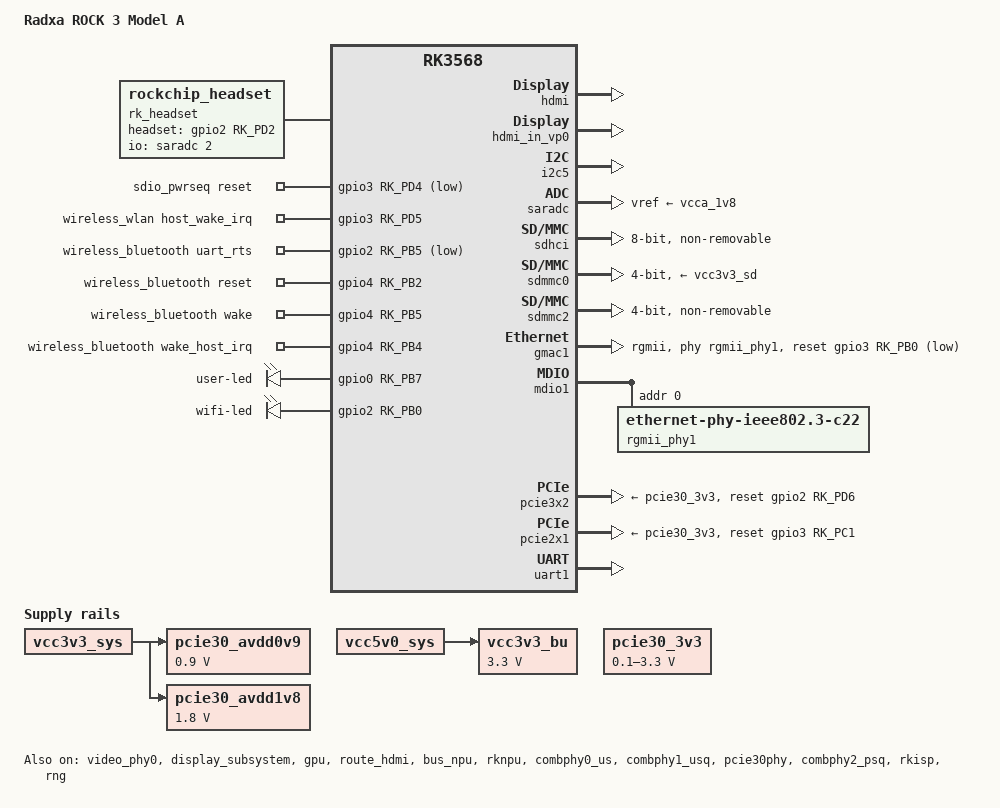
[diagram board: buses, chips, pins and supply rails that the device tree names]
/dts-v1/;
#include <dt-bindings/gpio/gpio.h>
#include <dt-bindings/pwm/pwm.h>
#include <dt-bindings/pinctrl/rockchip.h>
#include <dt-bindings/input/rk-input.h>
#include <dt-bindings/display/drm_mipi_dsi.h>
#include <dt-bindings/sensor-dev.h>
#include "rk3568.dtsi"
#include "rk3568-evb.dtsi"

/ {
	model = "Radxa ROCK 3 Model A";
	compatible = "radxa,rock-3-a", "rockchip,rk3568";

	hdmi_sound: hdmi-sound {
		compatible = "simple-audio-card";
		simple-audio-card,format = "i2s";
		simple-audio-card,mclk-fs = <128>;
		simple-audio-card,name = "rockchip,hdmi";
		status = "okay";

		simple-audio-card,cpu {
				sound-dai = <&i2s0_8ch>;
		};
		simple-audio-card,codec {
				sound-dai = <&hdmi>;
		};
	};

	pdmics: dummy-codec {
		status = "disabled";
		compatible = "rockchip,dummy-codec";
		#sound-dai-cells = <0>;
	};

	pdm_mic_array: pdm-mic-array {
		status = "disabled";
		compatible = "simple-audio-card";
		simple-audio-card,name = "rockchip,pdm-mic-array";
		simple-audio-card,cpu {
			sound-dai = <&pdm>;
		};
		simple-audio-card,codec {
			sound-dai = <&pdmics>;
		};
	};
/*
	reserved-memory {
		#address-cells = <2>;
		#size-cells = <2>;
		ranges;

		rknpu_reserved: rknpu {
			compatible = "shared-dma-pool";
			inactive;
			reusable;
			size = <0x0 0x20000000>;
			alignment = <0x0 0x1000>;
		};
	};
*/
	rk809_sound: rk809-sound {
		status = "okay";
		compatible = "simple-audio-card";
		simple-audio-card,format = "i2s";
		simple-audio-card,name = "rockchip,rk809-codec";
		simple-audio-card,mclk-fs = <256>;

		simple-audio-card,cpu {
			sound-dai = <&i2s1_8ch>;
		};
		simple-audio-card,codec {
			sound-dai = <&rk809_codec>;
		};
	};

	rk_headset: rk-headset {
		compatible = "rockchip_headset";
		headset_gpio = <&gpio2 RK_PD2 GPIO_ACTIVE_HIGH>;
		pinctrl-names = "default";
		pinctrl-0 = <&hp_det>;
		io-channels = <&saradc 2>;    //HP_HOOK引脚
	};

	pcie30_avdd0v9: pcie30-avdd0v9 {
		compatible = "regulator-fixed";
		regulator-name = "pcie30_avdd0v9";
		regulator-always-on;
		regulator-boot-on;
		regulator-min-microvolt = <900000>;
		regulator-max-microvolt = <900000>;
		vin-supply = <&vcc3v3_sys>;
	};

	pcie30_avdd1v8: pcie30-avdd1v8 {
		compatible = "regulator-fixed";
		regulator-name = "pcie30_avdd1v8";
		regulator-always-on;
		regulator-boot-on;
		regulator-min-microvolt = <1800000>;
		regulator-max-microvolt = <1800000>;
		vin-supply = <&vcc3v3_sys>;
	};

	pcie30_3v3: gpio-regulator {
		compatible = "regulator-gpio";
		regulator-name = "pcie30_3v3";
		regulator-min-microvolt = <100000>;
		regulator-max-microvolt = <3300000>;
		gpios = <&gpio0 RK_PD4 GPIO_ACTIVE_HIGH>;
		gpios-states = <0x1>;
		states = <100000 0x0
			  3300000 0x1>;
	};

	vcc3v3_bu: vcc3v3-bu {
		compatible = "regulator-fixed";
		regulator-name = "vcc3v3_bu";
		regulator-always-on;
		regulator-boot-on;
		regulator-min-microvolt = <3300000>;
		regulator-max-microvolt = <3300000>;
		vin-supply = <&vcc5v0_sys>;
	};

	sdio_pwrseq: sdio-pwrseq {
		compatible = "mmc-pwrseq-simple";
		clocks = <&rk809 1>;
		clock-names = "ext_clock";
		pinctrl-names = "default";
		pinctrl-0 = <&wifi_enable_h>;

		/*
		 * On the module itself this is one of these (depending
		 * on the actual card populated):
		 * - SDIO_RESET_L_WL_REG_ON
		 * - PDN (power down when low)
		 */
		reset-gpios = <&gpio3 RK_PD4 GPIO_ACTIVE_LOW>;		//WIFI_REG_ON_H
	};

	wireless_wlan: wireless-wlan {
		compatible = "wlan-platdata";
		clocks = <&rk809 1>;
		clock-names = "clk_wifi";
		rockchip,grf = <&grf>;
		wifi_chip_type = "ap6256";
		pinctrl-names = "default";
		pinctrl-0 = <&wifi_host_wake_irq>;
		WIFI,host_wake_irq = <&gpio3 RK_PD5 GPIO_ACTIVE_HIGH>;		//WIFI_WAKE_HOST_H
		status = "okay";
	};

	wireless_bluetooth: wireless-bluetooth {
		compatible = "bluetooth-platdata";
		clocks = <&rk809 1>;
		clock-names = "ext_clock";
		//wifi-bt-power-toggle;
		uart_rts_gpios = <&gpio2 RK_PB5 GPIO_ACTIVE_LOW>;
		pinctrl-names = "default", "rts_gpio";
		pinctrl-0 = <&uart1m0_rtsn>;
		pinctrl-1 = <&uart1_gpios>;
		BT,reset_gpio    = <&gpio4 RK_PB2 GPIO_ACTIVE_HIGH>;	//BT_REG_ON_H
		BT,wake_gpio     = <&gpio4 RK_PB5 GPIO_ACTIVE_HIGH>;	//HOST_WAKE_BT_H
		BT,wake_host_irq = <&gpio4 RK_PB4 GPIO_ACTIVE_HIGH>;	//BT_WAKE_HOST_H
		status = "okay";
	};

	gpio_leds: gpio-leds {
		compatible = "gpio-leds";
		status = "okay";

		user-led {
			gpios = <&gpio0 RK_PB7 GPIO_ACTIVE_HIGH>;
			linux,default-trigger = "heartbeat";
			default-state = "on";
			pinctrl-0 = <&user_led>;
		};

		wifi-led {
			gpios = <&gpio2 RK_PB0 GPIO_ACTIVE_HIGH>;
			linux,default-trigger = "rfkill2";
			default-state = "on";
			pinctrl-0 = <&wifi_led>;
		};
	};
};

&video_phy0 {
	status = "okay";
};

&display_subsystem {
    status = "okay";
};

&gpu {
	mali-supply = <&vdd_gpu>;
	status = "okay";
};

// enable hdmi, connect to vp0
&hdmi {
	status = "okay";
};

&hdmi_in_vp0 {
	status = "okay";
};

&hdmi_in_vp1 {
	status = "disabled";
};

&hdmi_sound {
	status = "okay";
};

&route_hdmi {
	status = "okay";
	connect = <&vp0_out_hdmi>;
};

// disable edp
&edp {
       status = "disabled";
};

&edp_phy {
       status = "disabled";
};

&edp_in_vp0 {
       status = "disabled";
};

&edp_in_vp1 {
       status = "disabled";
};

// disable dsi0
&dsi0 {
        status = "disabled";
};

&dsi0_in_vp0 {
        status = "disabled";
};

&dsi0_in_vp1 {
        status = "disabled";
};

// disable dsi1
&dsi1 {
        status = "disabled";
};

&dsi1_in_vp0 {
        status = "disabled";
};

&dsi1_in_vp1 {
        status = "disabled";
};

&i2c4 {
	pinctrl-0 = <&i2c4m1_xfer>;
        status = "disabled";
};

&i2c5 {
	status = "okay";	
	pinctrl-0 = <&i2c5m0_xfer>;
};
&pmu_io_domains {
	status = "okay";
	pmuio1-supply = <&vcc3v3_pmu>;
	pmuio2-supply = <&vcc3v3_pmu>;
	vccio1-supply = <&vccio_acodec>;
	vccio3-supply = <&vccio_sd>;
	vccio4-supply = <&vcc_1v8>;
	vccio5-supply = <&vcc_3v3>;
	vccio6-supply = <&vcc_1v8>;
	vccio7-supply = <&vcc_3v3>;
};

&bus_npu {
	bus-supply = <&vdd_logic>;
	pvtm-supply = <&vdd_cpu>;
	status = "okay";
};

&rknpu {
	// memory-region = <&rknpu_reserved>;
	rknpu-supply = <&vdd_npu>;
	status = "okay";
};

&rknpu_mmu {
	status = "okay";
};

&saradc {
	status = "okay";
	vref-supply = <&vcca_1v8>;
};

&sdhci {
	bus-width = <8>;
	supports-emmc;
	non-removable;
	rockchip,txclk-tapnum = <0x8>;
	max-frequency = <200000000>;
	status = "okay";
};

&sdmmc0 {
	max-frequency = <150000000>;
	supports-sd;
	bus-width = <4>;
	cap-mmc-highspeed;
	cap-sd-highspeed;
	disable-wp;
	sd-uhs-sdr104;
	vmmc-supply = <&vcc3v3_sd>;
	vqmmc-supply = <&vccio_sd>;
	pinctrl-names = "default";
	pinctrl-0 = <&sdmmc0_bus4 &sdmmc0_clk &sdmmc0_cmd &sdmmc0_det>;
	status = "okay";
};

&sdmmc2 {
	max-frequency = <150000000>;
	supports-sdio;
	bus-width = <4>;
	disable-wp;
	cap-sd-highspeed;
	cap-sdio-irq;
	keep-power-in-suspend;
	mmc-pwrseq = <&sdio_pwrseq>;
	non-removable;
	pinctrl-names = "default";
	pinctrl-0 = <&sdmmc2m0_bus4 &sdmmc2m0_cmd &sdmmc2m0_clk>;
	sd-uhs-sdr104;
	status = "okay";
};

&combphy0_us {
	status = "okay";
};

&combphy1_usq {
	status = "okay";
};

&sata0 {
	status = "disabled";
};

&sata1 {
	status = "disabled";
};

&xpcs {
	status="disabled";
};

&gmac1 {
	phy-mode = "rgmii";
	clock_in_out = "output";

	snps,reset-gpio = <&gpio3 RK_PB0 GPIO_ACTIVE_LOW>;
	snps,reset-active-low;
	/* Reset time is 20ms, 100ms for rtl8211f */
	snps,reset-delays-us = <0 20000 100000>;

	assigned-clocks = <&cru SCLK_GMAC1_RX_TX>, <&cru SCLK_GMAC1>;
	assigned-clock-parents = <&cru SCLK_GMAC1_RGMII_SPEED>;
	assigned-clock-rates = <0>, <125000000>;

	pinctrl-names = "default";
	pinctrl-0 = <&gmac1m1_miim
		     &gmac1m1_tx_bus2
		     &gmac1m1_rx_bus2
		     &gmac1m1_rgmii_clk
		     &gmac1m1_rgmii_bus>;

	tx_delay = <0x42>;
	rx_delay = <0x28>;

	phy-handle = <&rgmii_phy1>;
	status = "okay";
};

&mdio1 {
	rgmii_phy1: phy@0 {
		compatible = "ethernet-phy-ieee802.3-c22";
		reg = <0x0>;
	};
};

&pcie30phy {
	status = "okay";
};

&pcie3x2 {
	reset-gpios = <&gpio2 RK_PD6 GPIO_ACTIVE_HIGH>;
	vpcie3v3-supply = <&pcie30_3v3>;
	//num-lanes = <2>;
	pinctrl-0 = <&pcie30x2m1_pins>; 
	status = "okay";
};

&combphy2_psq {
	status = "okay";
};

&pcie2x1 {
	reset-gpios = <&gpio3 RK_PC1 GPIO_ACTIVE_HIGH>;	
	vpcie3v3-supply = <&pcie30_3v3>;
	pinctrl-0 = <&pcie20m1_pins>; 
	status = "okay";
};

&rkisp {
	status = "okay";
};

&rkisp_mmu {
	status = "okay";
};

&uart1 {
	status = "okay";
	pinctrl-names = "default";
	pinctrl-0 = <&uart1m0_xfer &uart1m0_ctsn>;
};

&uart8 {
	status = "disabled";
};

&reserved_memory {
	ramoops: ramoops@110000 {
		compatible = "ramoops";
		reg = <0x0 0x110000 0x0 0xf0000>;
		record-size = <0x20000>;
		console-size = <0x80000>;
		ftrace-size = <0x00000>;
		pmsg-size = <0x50000>;
	};
};

// wired network
// disable gmac0
&gmac0 {
	status = "disabled";
};

&rng {
	status = "okay";
};

&pinctrl {
	pmic {
		pmic_int: pmic_int {
			rockchip,pins =
				<0 RK_PA3 RK_FUNC_GPIO &pcfg_pull_up>;
		};

		soc_slppin_gpio: soc_slppin_gpio {
			rockchip,pins =
				<0 RK_PA2 RK_FUNC_GPIO &pcfg_output_low>;
		};

		soc_slppin_slp: soc_slppin_slp {
			rockchip,pins =
				<0 RK_PA2 RK_FUNC_1 &pcfg_pull_none>;
		};

		soc_slppin_rst: soc_slppin_rst {
			rockchip,pins =
				<0 RK_PA2 RK_FUNC_2 &pcfg_pull_none>;
		};
	};

	usb {
		vcc5v0_host_en: vcc5v0-host-en {
			rockchip,pins = <0 RK_PA6 RK_FUNC_GPIO &pcfg_pull_none>;
		};

		vcc5v0_otg_en: vcc5v0-otg-en {
			rockchip,pins = <0 RK_PA5 RK_FUNC_GPIO &pcfg_pull_none>;
		};

		vcc5v0_hub_en: vcc5v0-hub-en {
			rockchip,pins = <0 RK_PD5 RK_FUNC_GPIO &pcfg_pull_none>;
		};
	};

	sdio-pwrseq {
		wifi_enable_h: wifi-enable-h {
			rockchip,pins = <3 RK_PD4 RK_FUNC_GPIO &pcfg_pull_none>;
		};
	};

	wireless-wlan {
		wifi_host_wake_irq: wifi-host-wake-irq {
			rockchip,pins = <3 RK_PD5 RK_FUNC_GPIO &pcfg_pull_down>;
		};
	};

	wireless-bluetooth {
		uart1_gpios: uart1-gpios {
			rockchip,pins = <2 RK_PB5 RK_FUNC_GPIO &pcfg_pull_none>;
		};
	};

	headphone {
		hp_det: hp-det {
			rockchip,pins = <2 RK_PD2 RK_FUNC_GPIO &pcfg_pull_up>;
		};
	};

	leds {
		user_led: user-led {
			rockchip,pins = <0 RK_PB7 RK_FUNC_GPIO &pcfg_pull_none>;
		};

		wifi_led: wifi-led {
			rockchip,pins = <2 RK_PB0 RK_FUNC_GPIO &pcfg_pull_none>;
		};
	};
};
